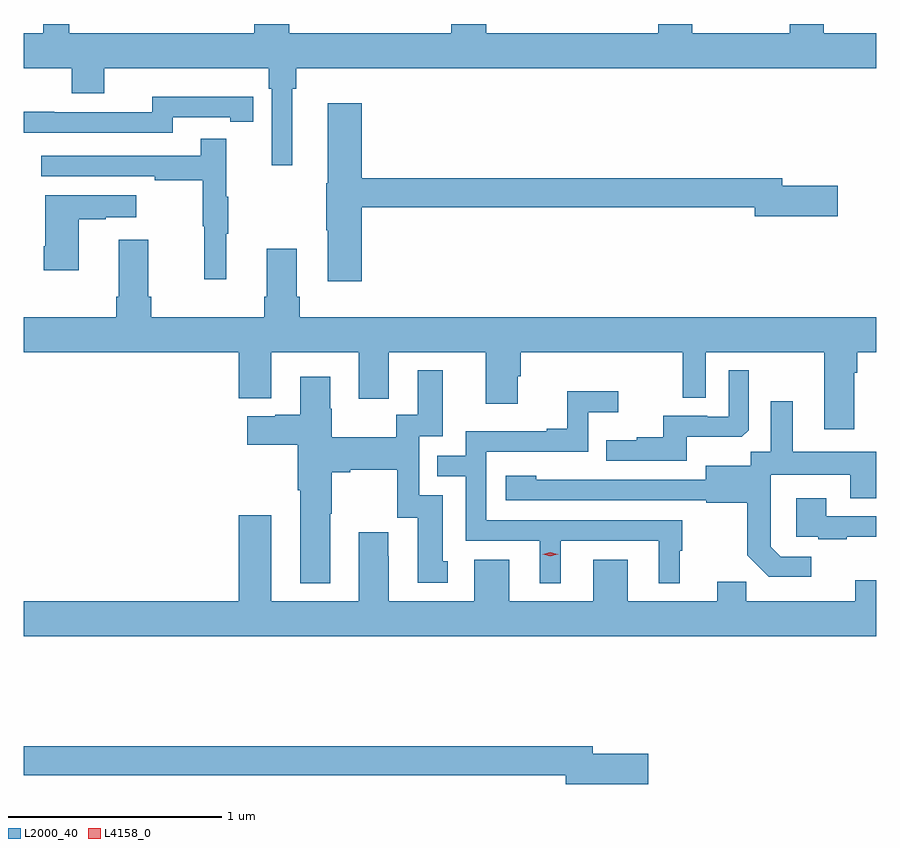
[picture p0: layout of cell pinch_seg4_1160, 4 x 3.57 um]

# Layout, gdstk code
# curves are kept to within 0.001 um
import gdstk
lib = gdstk.Library(unit=1e-6, precision=1e-09)
def P(c, l, *ps):  # polygons
    for p in ps: c.add(gdstk.Polygon(p, *l))
L2000_40 = (2000, 40)
L4158_0 = (4158, 0)

pinch_seg4_1160 = lib.new_cell('pinch_seg4_1160')
P(pinch_seg4_1160, L2000_40, [(508.828,786.068),(508.847,786.068),(508.847,786.164),(511.568,786.164),(511.568,786.328),(511.322,786.328),(511.322,786.372),(511.162,786.372),(511.162,786.328),(510.705,786.328),(510.705,786.372),(510.545,786.372),(510.545,786.328),(509.738,786.328),(509.738,786.372),(509.573,786.372),(509.573,786.328),(508.814,786.328),(508.814,786.372),(508.649,786.372),(508.649,786.328),(507.782,786.328),(507.782,786.372),(507.659,786.372),(507.659,786.328),(507.568,786.328),(507.568,786.164),(507.794,786.164),(507.794,786.047),(507.946,786.047),(507.946,786.164),(508.718,786.164),(508.718,786.068),(508.731,786.068),(508.731,785.709),(508.828,785.709)],
  [(508.266,785.934),(508.538,785.934),(508.538,785.914),(508.646,785.914),(508.646,786.03),(508.538,786.03),(508.538,786.031),(508.17,786.031),(508.17,785.958),(507.71,785.958),(507.71,785.96),(507.568,785.96),(507.568,785.862),(508.266,785.862)],
  [(509.153,785.512),(510.998,785.512),(510.998,785.47),(511.387,785.47),(511.387,785.612),(511.126,785.612),(511.126,785.648),(509.153,785.648),(509.153,786.001),(508.994,786.001),(508.994,785.625),(508.987,785.625),(508.987,785.404),(508.994,785.404),(508.994,785.166),(509.153,785.166)],
  [(508.517,785.387),(508.528,785.387),(508.528,785.561),(508.517,785.561),(508.517,785.833),(508.399,785.833),(508.399,785.754),(507.651,785.754),(507.651,785.658),(508.183,785.658),(508.183,785.638),(508.407,785.638),(508.407,785.424),(508.414,785.424),(508.414,785.175),(508.517,785.175)],
  [(507.826,785.455),(507.953,785.455),(507.953,785.465),(508.096,785.465),(508.096,785.569),(507.668,785.569),(507.668,785.329),(507.661,785.329),(507.661,785.217),(507.826,785.217)],
  [(508.849,785.092),(508.849,785.317),(508.709,785.317),(508.709,785.092),(508.697,785.092),(508.697,784.996),(508.166,784.996),(508.166,785.092),(508.153,785.092),(508.153,785.359),(508.013,785.359),(508.013,785.092),(508.001,785.092),(508.001,784.996),(507.568,784.996),(507.568,784.832),(508.577,784.832),(508.577,784.616),(508.729,784.616),(508.729,784.832),(509.141,784.832),(509.141,784.614),(509.281,784.614),(509.281,784.832),(509.735,784.832),(509.735,784.59),(509.887,784.59),(509.887,784.719),(509.9,784.719),(509.9,784.832),(510.66,784.832),(510.66,784.618),(510.768,784.618),(510.768,784.832),(511.325,784.832),(511.325,784.47),(511.465,784.47),(511.465,784.736),(511.478,784.736),(511.478,784.832),(511.568,784.832),(511.568,784.996),(508.862,784.996),(508.862,785.092)],
  [(509.005,784.075),(509.013,784.075),(509.013,784.268),(509.101,784.268),(509.101,784.28),(509.321,784.28),(509.321,784.056),(509.417,784.056),(509.417,783.75),(509.557,783.75),(509.557,783.852),(509.533,783.852),(509.533,784.161),(509.424,784.161),(509.424,784.437),(509.533,784.437),(509.533,784.747),(509.417,784.747),(509.417,784.538),(509.316,784.538),(509.316,784.432),(509.013,784.432),(509.013,784.566),(509.005,784.566),(509.005,784.717),(508.865,784.717),(508.865,784.538),(508.749,784.538),(508.749,784.531),(508.617,784.531),(508.617,784.397),(508.853,784.397),(508.853,784.184),(508.865,784.184),(508.865,783.749),(509.005,783.749)],
  [(510.679,784.436),(510.937,784.436),(510.969,784.467),(510.969,784.747),(510.876,784.747),(510.876,784.53),(510.776,784.53),(510.776,784.533),(510.569,784.533),(510.569,784.432),(510.445,784.432),(510.445,784.42),(510.301,784.42),(510.301,784.323),(510.679,784.323)],
  [(510.088,783.948),(510.548,783.948),(510.548,783.749),(510.646,783.749),(510.646,783.9),(510.658,783.9),(510.658,784.044),(509.739,784.044),(509.739,784.365),(510.216,784.365),(510.216,784.55),(510.358,784.55),(510.358,784.649),(510.118,784.649),(510.118,784.474),(510.023,784.474),(510.023,784.461),(509.643,784.461),(509.643,784.347),(509.509,784.347),(509.509,784.251),(509.643,784.251),(509.643,783.948),(509.99,783.948),(509.99,783.749),(510.088,783.749)],
  [(511.264,783.873),(511.119,783.873),(511.072,783.92),(511.072,784.015),(511.074,784.015),(511.074,784.256),(511.445,784.256),(511.445,784.147),(511.568,784.147),(511.568,784.366),(511.177,784.366),(511.177,784.603),(511.073,784.603),(511.073,784.364),(510.978,784.364),(510.978,784.3),(510.767,784.3),(510.767,784.233),(509.973,784.234),(509.973,784.252),(509.829,784.252),(509.829,784.137),(510.771,784.137),(510.771,784.125),(510.963,784.125),(510.963,783.879),(511.063,783.779),(511.264,783.779)],
  [(511.429,783.965),(511.568,783.965),(511.568,784.062),(511.333,784.062),(511.333,784.147),(511.193,784.147),(511.193,783.966),(511.297,783.966),(511.297,783.954),(511.429,783.954)],
  [(511.568,783.763),(511.469,783.763),(511.469,783.664),(510.959,783.664),(510.959,783.755),(510.821,783.755),(510.821,783.664),(510.403,783.664),(510.403,783.859),(510.239,783.859),(510.239,783.664),(509.845,783.664),(509.845,783.859),(509.681,783.859),(509.681,783.664),(509.281,783.664),(509.281,783.875),(509.278,783.875),(509.278,783.988),(509.141,783.988),(509.141,783.664),(508.729,783.664),(508.729,784.066),(508.577,784.066),(508.577,783.664),(507.568,783.664),(507.568,783.5),(511.568,783.5)],
  [(510.499,782.948),(510.238,782.948),(510.238,782.984),(507.568,782.984),(507.568,782.848),(510.11,782.848),(510.11,782.806),(510.499,782.806)])
P(pinch_seg4_1160, L4158_0, [(510.039,783.874),(510.004,783.883),(510.003,783.883),(510.004,783.884),(510.039,783.893),(510.074,783.884),(510.075,783.883),(510.074,783.883)])

lib.write_gds('pinch_seg4_1160.gds')
